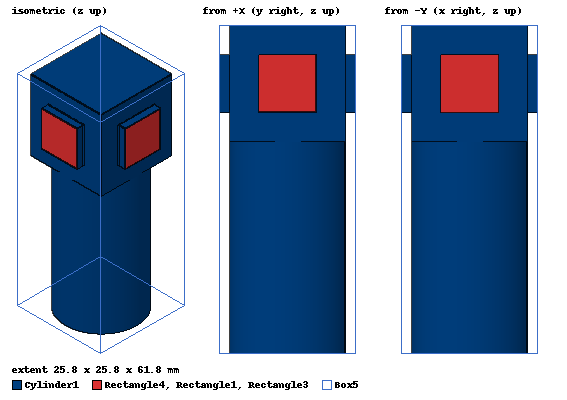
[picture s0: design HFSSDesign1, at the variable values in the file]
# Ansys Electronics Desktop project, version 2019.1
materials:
  vacuum: permittivity=1
  air: permittivity=1.0006 permeability=1.0000004
  pec: conductivity=1e+30

design HFSSDesign1 (HFSS, DrivenModal, model units mm)
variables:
  body_radius = 10.9mm
  depth = 0.2mm
  body_height = 40mm
  head_depth = 21.8mm
  head_width = 21.8mm
  head_length = 21.8mm
  port_height = body_height + head_length/4
  port_depth = 10.9mm
  port_width = 2mm
  port_length = head_length/2
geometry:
  Cylinder1 [pec] = cylinder(axis=Z, base_centre=(0mm, 0mm, 0mm), radius=body_radius, height=body_height)
  Cylinder2 = cylinder(axis=Z, base_centre=(0mm, 0mm, 0mm), radius=body_radius-depth, height=body_height)
  Box1 = box(corner=(-head_depth/2, -head_width/2, body_height), size=(head_depth, head_width, head_length))
  Box2 = box(corner=(-head_depth/2+depth, -head_width/2+depth, body_height+depth), size=(head_depth-2*depth, head_width-2*depth, head_length-2*depth))
  Cylinder3 = cylinder(axis=Z, base_centre=(0mm, 0mm, body_height), radius=body_radius-depth, height=depth)
  Box3 = box(corner=(-port_depth/2, -head_width/2, port_height), size=(port_depth, -port_width, port_length))
  Box4 = box(corner=(-port_depth/2+depth, -head_width/2+depth, port_height+depth), size=(port_depth-2*depth, -port_width-depth, port_length-2*depth))
  Cylinder1.subtract(Cylinder2)
  Box1.subtract(Box2)
  Box1.subtract(Cylinder3)
  Box4_1 = Box4.duplicate_mirror(point=(20mm, 0mm, 120mm), normal=(0mm, 1mm, 0mm))
  Box3_1 = Box3.duplicate_mirror(point=(20mm, 0mm, 120mm), normal=(0mm, 1mm, 0mm))
  Box3_2 = Box3.duplicate_around_axis(axis=Z, angle=90deg, total=2)
  Box3_1_1 = Box3_1.duplicate_around_axis(axis=Z, angle=90deg, total=2)
  Box4_2 = Box4.duplicate_around_axis(axis=Z, angle=90deg, total=2)
  Box4_1_1 = Box4_1.duplicate_around_axis(axis=Z, angle=90deg, total=2)
  Box4_3 = Box4.copy()
  Box4_1_2 = Box4_1.copy()
  Box4_1_1_1 = Box4_1_1.copy()
  Box4_2_1 = Box4_2.copy()
  Box1.subtract(Box4_3, Box4_1_2, Box4_1_1_1, Box4_2_1)
  Box4_4 = Box4.copy()
  Box4_1_3 = Box4_1.copy()
  Box4_1_1_2 = Box4_1_1.copy()
  Box4_2_2 = Box4_2.copy()
  Box3.subtract(Box4_4, Box4_1_3, Box4_1_1_2, Box4_2_2)
  Box4_5 = Box4.copy()
  Box4_1_4 = Box4_1.copy()
  Box4_1_1_3 = Box4_1_1.copy()
  Box4_2_3 = Box4_2.copy()
  Box3_1.subtract(Box4_5, Box4_1_4, Box4_1_1_3, Box4_2_3)
  Box4_6 = Box4.copy()
  Box4_1_5 = Box4_1.copy()
  Box4_1_1_4 = Box4_1_1.copy()
  Box4_2_4 = Box4_2.copy()
  Box3_1_1.subtract(Box4_6, Box4_1_5, Box4_1_1_4, Box4_2_4)
  Box3_2.subtract(Box4, Box4_1, Box4_1_1, Box4_2)
  Box1.unite(Box3, Box3_1, Box3_1_1, Box3_2)
  Box5 [air] = box(corner=(-head_depth/2-port_depth, -head_width/2-port_width, 0mm), size=(2*port_width+head_depth, 2*port_width+head_width, body_height+head_length))
  Cylinder1.unite(Box1)
  Box5.move(8.9mm, 0mm, 1.4210855e-14mm)
  Circle1 = circle(normal=Z, centre=(0mm, 0mm, 0mm), radius=10.850346mm)
  Box5.move(4.1mm, 0mm, -1.4210855e-14mm)
  Box5.move(-4.1mm, 0mm, 0mm)
  Rectangle1 = rectangle(corner=(12.9mm, -5.45mm, 56.35mm), y_size=10.7mm, z_size=-10.7mm)
  Rectangle2 = rectangle(corner=(-12.9mm, 5.25mm, 56.15mm), y_size=-10.7mm, z_size=-10.7mm)
  Rectangle3 = rectangle(corner=(5.45mm, 12.9mm, 56.35mm), z_size=-10.7mm, x_size=-10.7mm)
  Rectangle4 = rectangle(corner=(-5.45mm, -12.9mm, 56.35mm), z_size=-10.9mm, x_size=10.9mm)
  Cylinder4 = cylinder(axis=Z, base_centre=(0mm, 0mm, body_height+head_length), radius=body_radius, height=-5mm)
  Cylinder1.unite(Cylinder4)
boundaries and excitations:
  1: Wave Port Objects=Circle1 NumModes=1 Modes{Mode1{IntLine{centre of Circle1.face -> Circle1.edge(1 of 1) at -0.25 along} CharImp=Zpi}}
  2: Wave Port Objects=Rectangle1 NumModes=1 Modes{Mode1{IntLine{Rectangle1.edge(z opposite corner) at 0.491 along -> middle of Rectangle1.edge(z at corner)} CharImp=Zpi}}
  3: Wave Port Objects=Rectangle2 NumModes=1 Modes{Mode1{IntLine{middle of Cylinder1.edge(#1113) -> Rectangle2.edge(z at corner) at 0.491 along} CharImp=Zpi}}
  4: Wave Port Objects=Rectangle3 NumModes=1 Modes{Mode1{IntLine{middle of Rectangle3.edge(z opposite corner) -> middle of Rectangle3.edge(z at corner)} CharImp=Zpi}}
  5: Wave Port Objects=Rectangle4 NumModes=1 Modes{Mode1{IntLine{middle of Rectangle4.edge(z opposite corner) -> middle of Rectangle4.edge(z at corner)} CharImp=Zpi}}
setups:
  Setup1: HfssDriven Frequency=10GHz MaxDeltaS=0.02 MaximumPasses=6 MinimumPasses=1 MinimumConvergedPasses=1 PercentRefinement=30 BasisOrder=1 PortAccuracy=2
    sweep Sweep: 8GHz to 12GHz, 451 points; Type=Interpolating InterpTolerance=0.5 InterpMaxSolns=250 InterpUsePortImped=false PassivityErrorTolerance=0.0001
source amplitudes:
  1:1: 1W 0deg
  2:1, 3:1, 4:1, 5:1: 0W 0deg
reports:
  S Parameter Plot 1: dB(S(1,1)), dB(S(2,1)), dB(S(3,1)), dB(S(4,1)), dB(S(5,1)) vs Freq on Setup1 : Sweep
